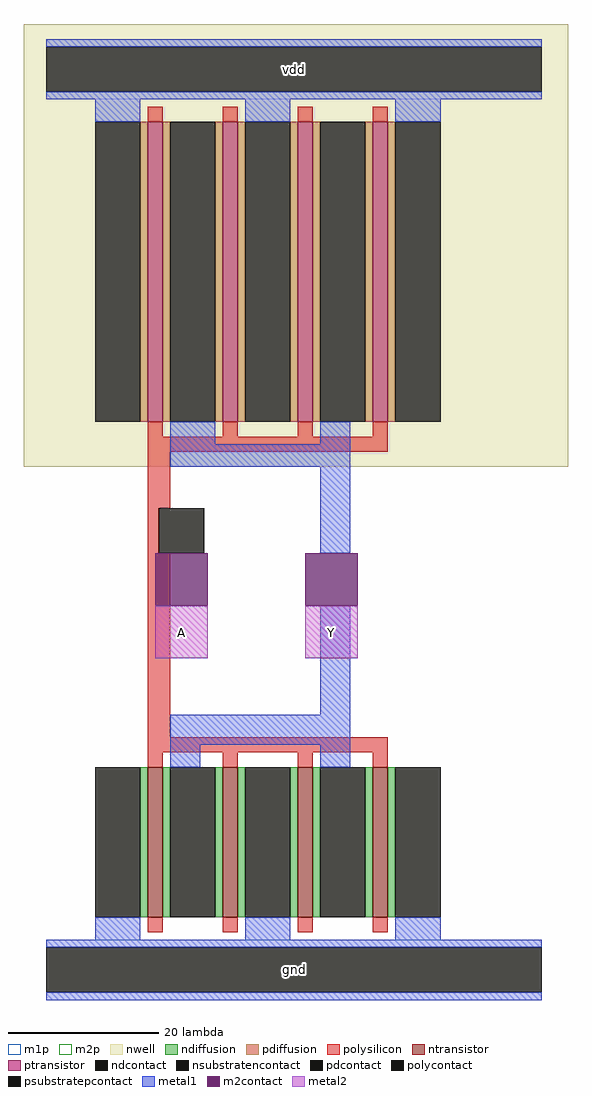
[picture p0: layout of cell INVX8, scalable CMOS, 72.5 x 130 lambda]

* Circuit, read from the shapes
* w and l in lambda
.subckt INVX8 A Y vdd gnd
M1 Y A gnd gnd nfet w=20 l=2 m=4
M2 Y A vdd vdd pfet w=40 l=2 m=4
.ends

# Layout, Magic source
magic
tech scmos
magscale 1 2
<< nwell >>
rect -12 134 133 252
<< ntransistor >>
rect 21 14 25 54
rect 41 14 45 54
rect 61 14 65 54
rect 81 14 85 54
<< ptransistor >>
rect 21 146 25 226
rect 41 146 45 226
rect 61 146 65 226
rect 81 146 85 226
<< ndiffusion >>
rect 19 14 21 54
rect 25 14 27 54
rect 39 14 41 54
rect 45 14 47 54
rect 59 14 61 54
rect 65 14 67 54
rect 79 14 81 54
rect 85 14 87 54
<< pdiffusion >>
rect 19 146 21 226
rect 25 146 27 226
rect 39 146 41 226
rect 45 146 47 226
rect 59 146 61 226
rect 65 146 67 226
rect 79 146 81 226
rect 85 146 87 226
<< ndcontact >>
rect 7 14 19 54
rect 27 14 39 54
rect 47 14 59 54
rect 67 14 79 54
rect 87 14 99 54
<< pdcontact >>
rect 7 146 19 226
rect 27 146 39 226
rect 47 146 59 226
rect 67 146 79 226
rect 87 146 99 226
<< psubstratepcontact >>
rect -6 -6 126 6
<< nsubstratencontact >>
rect -6 234 126 246
<< polysilicon >>
rect 21 226 25 230
rect 41 226 45 230
rect 61 226 65 230
rect 81 226 85 230
rect 21 142 25 146
rect 41 142 45 146
rect 61 142 65 146
rect 81 142 85 146
rect 21 138 85 142
rect 21 123 27 138
rect 21 111 24 123
rect 21 62 27 111
rect 21 58 85 62
rect 21 54 25 58
rect 41 54 45 58
rect 61 54 65 58
rect 81 54 85 58
rect 21 10 25 14
rect 41 10 45 14
rect 61 10 65 14
rect 81 10 85 14
<< polycontact >>
rect 24 111 36 123
<< metal1 >>
rect -6 246 126 248
rect -6 232 126 234
rect 7 226 19 232
rect 47 226 59 232
rect 87 226 99 232
rect 27 140 39 146
rect 67 140 75 146
rect 27 134 75 140
rect 67 111 75 134
rect 67 68 75 97
rect 27 60 75 68
rect 27 54 35 60
rect 67 54 75 60
rect 7 8 19 14
rect 47 8 59 14
rect 87 8 99 14
rect -6 6 126 8
rect -6 -8 126 -6
<< m2contact >>
rect 23 97 37 111
rect 63 97 77 111
<< metal2 >>
rect 23 83 37 97
rect 63 83 77 97
<< m1p >>
rect -6 232 126 248
rect -6 -8 126 8
<< m2p >>
rect 23 83 37 97
rect 63 83 77 97
<< labels >>
rlabel metal1 -6 -8 126 8 0 gnd
port 3 nsew ground bidirectional abutment
rlabel metal1 -6 232 126 248 0 vdd
port 2 nsew power bidirectional abutment
rlabel metal2 23 83 37 97 0 A
port 0 nsew signal input
rlabel metal2 63 83 77 97 0 Y
port 1 nsew signal output
<< properties >>
string FIXED_BBOX 0 0 120 240
string LEFclass CORE
string LEFsite core
string LEFsymmetry X Y
<< end >>
